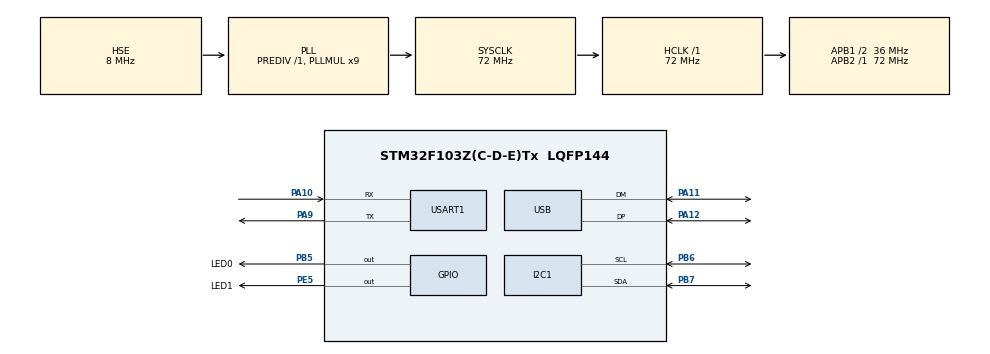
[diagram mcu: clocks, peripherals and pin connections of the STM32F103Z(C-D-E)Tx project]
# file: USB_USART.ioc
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Dma.I2C1_RX.2.Direction=DMA_PERIPH_TO_MEMORY
Dma.I2C1_RX.2.Instance=DMA1_Channel7
Dma.I2C1_RX.2.MemDataAlignment=DMA_MDATAALIGN_BYTE
Dma.I2C1_RX.2.MemInc=DMA_MINC_ENABLE
Dma.I2C1_RX.2.Mode=DMA_CIRCULAR
Dma.I2C1_RX.2.PeriphDataAlignment=DMA_PDATAALIGN_BYTE
Dma.I2C1_RX.2.PeriphInc=DMA_PINC_DISABLE
Dma.I2C1_RX.2.Priority=DMA_PRIORITY_LOW
Dma.I2C1_TX.3.Direction=DMA_MEMORY_TO_PERIPH
Dma.I2C1_TX.3.Instance=DMA1_Channel6
Dma.I2C1_TX.3.MemDataAlignment=DMA_MDATAALIGN_BYTE
Dma.I2C1_TX.3.MemInc=DMA_MINC_ENABLE
Dma.I2C1_TX.3.Mode=DMA_NORMAL
Dma.I2C1_TX.3.PeriphDataAlignment=DMA_PDATAALIGN_BYTE
Dma.I2C1_TX.3.PeriphInc=DMA_PINC_DISABLE
Dma.I2C1_TX.3.Priority=DMA_PRIORITY_LOW
Dma.Request0=USART1_RX
Dma.Request1=USART1_TX
Dma.Request2=I2C1_RX
Dma.Request3=I2C1_TX
Dma.USART1_RX.0.Direction=DMA_PERIPH_TO_MEMORY
Dma.USART1_RX.0.Instance=DMA1_Channel5
Dma.USART1_RX.0.MemDataAlignment=DMA_MDATAALIGN_BYTE
Dma.USART1_RX.0.MemInc=DMA_MINC_ENABLE
Dma.USART1_RX.0.Mode=DMA_CIRCULAR
Dma.USART1_RX.0.PeriphDataAlignment=DMA_PDATAALIGN_BYTE
Dma.USART1_RX.0.PeriphInc=DMA_PINC_DISABLE
Dma.USART1_RX.0.Priority=DMA_PRIORITY_LOW
Dma.USART1_TX.1.Direction=DMA_MEMORY_TO_PERIPH
Dma.USART1_TX.1.Instance=DMA1_Channel4
Dma.USART1_TX.1.MemDataAlignment=DMA_MDATAALIGN_BYTE
Dma.USART1_TX.1.MemInc=DMA_MINC_ENABLE
Dma.USART1_TX.1.Mode=DMA_NORMAL
Dma.USART1_TX.1.PeriphDataAlignment=DMA_PDATAALIGN_BYTE
Dma.USART1_TX.1.PeriphInc=DMA_PINC_DISABLE
Dma.USART1_TX.1.Priority=DMA_PRIORITY_LOW
I2C1.OwnAddress=0x58
Mcu.Family=STM32F1
Mcu.Name=STM32F103Z(C-D-E)Tx
Mcu.Package=LQFP144
NVIC.DMA1_Channel4_IRQn=true\:0\:0\:false\:false\:true\:false\:true\:true
NVIC.DMA1_Channel5_IRQn=true\:0\:0\:false\:false\:true\:false\:true\:true
NVIC.DMA1_Channel6_IRQn=true\:0\:0\:false\:false\:true\:false\:true\:true
NVIC.DMA1_Channel7_IRQn=true\:0\:0\:false\:false\:true\:false\:true\:true
NVIC.I2C1_ER_IRQn=true\:0\:0\:false\:false\:true\:true\:true\:true
NVIC.I2C1_EV_IRQn=true\:0\:0\:false\:false\:true\:true\:true\:true
NVIC.PriorityGroup=NVIC_PRIORITYGROUP_4
NVIC.USART1_IRQn=true\:0\:0\:false\:false\:true\:false\:true\:true
NVIC.USB_LP_CAN1_RX0_IRQn=true\:0\:0\:false\:false\:true\:false\:true\:true
OSC_IN.Mode=HSE-External-Oscillator
OSC_IN.Signal=RCC_OSC_IN
OSC_OUT.Mode=HSE-External-Oscillator
OSC_OUT.Signal=RCC_OSC_OUT
PA10.Mode=Asynchronous
PA10.Signal=USART1_RX
PA11.Mode=Device
PA11.Signal=USB_DM
PA12.Mode=Device
PA12.Signal=USB_DP
PA13.Mode=Serial_Wire
PA13.Signal=SYS_JTMS-SWDIO
PA14.Mode=Serial_Wire
PA14.Signal=SYS_JTCK-SWCLK
PA9.Mode=Asynchronous
PA9.Signal=USART1_TX
PB5.GPIO_Label=LED0
PB5.GPIO_ModeDefaultOutputPP=GPIO_MODE_OUTPUT_OD
PB5.GPIO_PuPd=GPIO_NOPULL
PB5.PinState=GPIO_PIN_SET
PB5.Signal=GPIO_Output
PB6.Mode=I2C
PB6.Signal=I2C1_SCL
PB7.Mode=I2C
PB7.Signal=I2C1_SDA
PE5.GPIO_Label=LED1
PE5.GPIO_ModeDefaultOutputPP=GPIO_MODE_OUTPUT_OD
PE5.GPIO_PuPd=GPIO_NOPULL
PE5.PinState=GPIO_PIN_SET
PE5.Signal=GPIO_Output
ProjectManager.HeapSize=0x800
ProjectManager.StackSize=0x800
ProjectManager.TargetToolchain=CMake
RCC.AHBFreq_Value=72000000
RCC.APB1CLKDivider=RCC_HCLK_DIV2
RCC.APB1Freq_Value=36000000
RCC.APB1TimFreq_Value=72000000
RCC.APB2Freq_Value=72000000
RCC.APB2TimFreq_Value=72000000
RCC.HCLKFreq_Value=72000000
RCC.PLLMUL=RCC_PLL_MUL9
RCC.PLLSourceVirtual=RCC_PLLSOURCE_HSE
RCC.SYSCLKFreq_VALUE=72000000
RCC.SYSCLKSource=RCC_SYSCLKSOURCE_PLLCLK
RCC.USBFreq_Value=48000000
RCC.USBPrescaler=RCC_USBCLKSOURCE_PLL_DIV1_5
USART1.VirtualMode=VM_ASYNC
USB_DEVICE.CLASS_NAME_FS=CDC
USB_DEVICE.VirtualMode=Cdc
USB_DEVICE.VirtualModeFS=Cdc_FS
VP_USB_DEVICE_VS_USB_DEVICE_CDC_FS.Mode=CDC_FS
board=custom

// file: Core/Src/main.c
/* USER CODE BEGIN Header */
/**
  ******************************************************************************
  * @file           : main.c
  * @brief          : Main program body
  ******************************************************************************
  * @attention
  *
  * Copyright (c) 2026 STMicroelectronics.
  * All rights reserved.
  *
  * This software is licensed under terms that can be found in the LICENSE file
  * in the root directory of this software component.
  * If no LICENSE file comes with this software, it is provided AS-IS.
  *
  ******************************************************************************
  */
/* USER CODE END Header */
#include "main.h"
#include "dma.h"
#include "i2c.h"
#include "usart.h"
#include "usb_device.h"
#include "gpio.h"

/* USER CODE BEGIN Includes */
#include "config.h"
#include "debug_log.h"

#if defined (USB_COMMUNICATION) && defined(UART_COMMUNICATION)
  #include "usb_uart_bridge.h"
#endif

#if defined (I2C_COMMUNICATION) && defined(UART_COMMUNICATION)
  #include "i2c_uart_bridge.h"
#endif
/* USER CODE END Includes */

void SystemClock_Config(void);

/* USER CODE BEGIN 0 */

// RX/TX event handlers forward declarations
#ifdef UART_COMMUNICATION
  extern UART_HandleTypeDef huart1;
  void UARTDriver_on_data_transmitted(UARTDriver_t *p_uart_driver);
  void UARTDriver_on_data_received(UARTDriver_t *p_uart_driver, uint8_t *data, const uint16_t len);
#endif

#ifdef USB_COMMUNICATION
  extern USBD_HandleTypeDef hUsbDeviceFS;
  void USBDriver_on_data_transmitted(USBDriver_t *p_usb_driver);
  uint16_t USBDriver_on_data_received(USBDriver_t *p_usb_driver, uint8_t *data, uint16_t len);
#endif

#ifdef I2C_COMMUNICATION
  extern I2C_HandleTypeDef hi2c1;
#endif

#if defined(UART_COMMUNICATION) && defined(USB_COMMUNICATION)
  USBUARTBridge_t usb_uart_bridge;
#endif

#if defined(UART_COMMUNICATION) && defined(I2C_COMMUNICATION)
  I2CUARTBridge_t i2c_uart_bridge;
#endif
/* USER CODE END 0 */

int main(void)
{

  /* USER CODE BEGIN 1 */

  // __HAL_RCC_I2C1_FORCE_RESET();
  // __HAL_RCC_DMA1_FORCE_RESET();
  // __HAL_RCC_I2C1_RELEASE_RESET();
  // __HAL_RCC_DMA1_RELEASE_RESET();

  /* USER CODE END 1 */

  /* MCU Configuration--------------------------------------------------------*/

  /* Reset of all peripherals, Initializes the Flash interface and the Systick. */
  HAL_Init();

  /* Configure the system clock */
  SystemClock_Config();

  /* USER CODE BEGIN SysInit */

#if defined(UART_COMMUNICATION) && defined(USB_COMMUNICATION)
  USBUARTBridge_Ctor(&usb_uart_bridge, &hUsbDeviceFS, &huart1);

  usb_uart_bridge.uart_driver.on_data_transmitted = UARTDriver_on_data_transmitted;
  usb_uart_bridge.uart_driver.on_data_received = UARTDriver_on_data_received;

  usb_uart_bridge.usb_driver.on_data_transmitted = USBDriver_on_data_transmitted;
  usb_uart_bridge.usb_driver.on_data_received = USBDriver_on_data_received;
#endif

#if defined(UART_COMMUNICATION) && defined(I2C_COMMUNICATION)
  I2CUARTBridge_Ctor(&i2c_uart_bridge, &hi2c1, &huart1);
#endif

  /* USER CODE END SysInit */

  /* Initialize all configured peripherals */
  MX_GPIO_Init();
  MX_DMA_Init();
  MX_USART1_UART_Init();
  MX_USB_DEVICE_Init();
  MX_I2C1_Init();

  /* Infinite loop */
  /* USER CODE BEGIN WHILE */
  HAL_Delay(100);

  LOG_INFO("%s", "Main loop is starting...");
  while (1)
  {

#if defined(UART_COMMUNICATION) && defined(USB_COMMUNICATION)
    // usb_uart_bridge.uart_driver.transmit(&usb_uart_bridge.uart_driver, &usb_uart_bridge.uart_driver.rx_fifo); // Uncoment it to test the UART port as software loopback port
    // usb_uart_bridge.usb_driver.resume_rx(&usb_uart_bridge.usb_driver); // Uncoment it to test the USB port as software loopback port
    // usb_uart_bridge.usb_driver.transmit(&usb_uart_bridge.usb_driver, &usb_uart_bridge.usb_driver.rx_fifo); // Uncoment it to test the USB port as software loopback port

    usb_uart_bridge.process(&usb_uart_bridge); // Asynchronous background data transfer
#endif

#if defined(UART_COMMUNICATION) && defined(I2C_COMMUNICATION)
    i2c_uart_bridge.uart_driver.transmit(&i2c_uart_bridge.uart_driver, &i2c_uart_bridge.uart_driver.rx_fifo); // Uncoment it to test the UART port as software loopback port
    // HAL_GPIO_TogglePin(LED0_GPIO_Port, LED0_Pin);
    // HAL_Delay(200);
    // i2c_uart_bridge.process(&i2c_uart_bridge, IS_I2C_MASTER);
#endif
    /* USER CODE END WHILE */

  }
}

void SystemClock_Config(void)
{
  RCC_OscInitTypeDef RCC_OscInitStruct = {0};
  RCC_ClkInitTypeDef RCC_ClkInitStruct = {0};
  RCC_PeriphCLKInitTypeDef PeriphClkInit = {0};

  /** Initializes the RCC Oscillators according to the specified parameters
  * in the RCC_OscInitTypeDef structure.
  */
  RCC_OscInitStruct.OscillatorType = RCC_OSCILLATORTYPE_HSE;
  RCC_OscInitStruct.HSEState = RCC_HSE_ON;
  RCC_OscInitStruct.HSEPredivValue = RCC_HSE_PREDIV_DIV1;
  RCC_OscInitStruct.HSIState = RCC_HSI_ON;
  RCC_OscInitStruct.PLL.PLLState = RCC_PLL_ON;
  RCC_OscInitStruct.PLL.PLLSource = RCC_PLLSOURCE_HSE;
  RCC_OscInitStruct.PLL.PLLMUL = RCC_PLL_MUL9;
  if (HAL_RCC_OscConfig(&RCC_OscInitStruct) != HAL_OK)
  {
    Error_Handler();
  }

  /** Initializes the CPU, AHB and APB buses clocks
  */
  RCC_ClkInitStruct.ClockType = RCC_CLOCKTYPE_HCLK|RCC_CLOCKTYPE_SYSCLK
                              |RCC_CLOCKTYPE_PCLK1|RCC_CLOCKTYPE_PCLK2;
  RCC_ClkInitStruct.SYSCLKSource = RCC_SYSCLKSOURCE_PLLCLK;
  RCC_ClkInitStruct.AHBCLKDivider = RCC_SYSCLK_DIV1;
  RCC_ClkInitStruct.APB1CLKDivider = RCC_HCLK_DIV2;
  RCC_ClkInitStruct.APB2CLKDivider = RCC_HCLK_DIV1;

  if (HAL_RCC_ClockConfig(&RCC_ClkInitStruct, FLASH_LATENCY_2) != HAL_OK)
  {
    Error_Handler();
  }
  PeriphClkInit.PeriphClockSelection = RCC_PERIPHCLK_USB;
  PeriphClkInit.UsbClockSelection = RCC_USBCLKSOURCE_PLL_DIV1_5;
  if (HAL_RCCEx_PeriphCLKConfig(&PeriphClkInit) != HAL_OK)
  {
    Error_Handler();
  }
}

/* USER CODE BEGIN 4 */
// An example of the business logic hook redefinition directly in the main.c:
#ifdef USB_COMMUNICATION
void USBDriver_on_data_transmitted(USBDriver_t *p_usb_driver) {
  HAL_GPIO_WritePin(LED0_GPIO_Port, LED0_Pin, GPIO_PIN_SET); // Just to visually enjoy how it works there
}

uint16_t USBDriver_on_data_received(USBDriver_t *p_usb_driver, uint8_t *data, uint16_t len) {
  // Business logic example: catching and replacing data
  for (uint16_t i = 0; i < len; i++) {
    if (data[i] == 'a') data[i] = 'A'; // On the fly modifiction
  }

  HAL_GPIO_WritePin(LED1_GPIO_Port, LED1_Pin, GPIO_PIN_RESET); // Just to visually enjoy how it works there

  return len;
}
#endif

#ifdef UART_COMMUNICATION
void UARTDriver_on_data_transmitted(UARTDriver_t *p_uart_driver) {
  HAL_GPIO_WritePin(LED1_GPIO_Port, LED1_Pin, GPIO_PIN_SET); // Just to visually enjoy how it works there
}

void UARTDriver_on_data_received(UARTDriver_t *p_uart_driver, uint8_t *data, const uint16_t len) {
  // It can be left empty or data can be processed there right before sending it to the PC
  if (p_uart_driver->rx_idle)
  {
    HAL_GPIO_WritePin(LED0_GPIO_Port, LED0_Pin, GPIO_PIN_RESET); // Just to visually enjoy how it works there
  }
}
#endif

/* USER CODE END 4 */

void Error_Handler(void)
{
  /* USER CODE BEGIN Error_Handler_Debug */
  /* User can add his own implementation to report the HAL error return state */
  LOG_ERR("Something went wrong so we hit in Error_Handler!!!");
  __disable_irq();
  while (1)
  {
  }
  /* USER CODE END Error_Handler_Debug */
}
